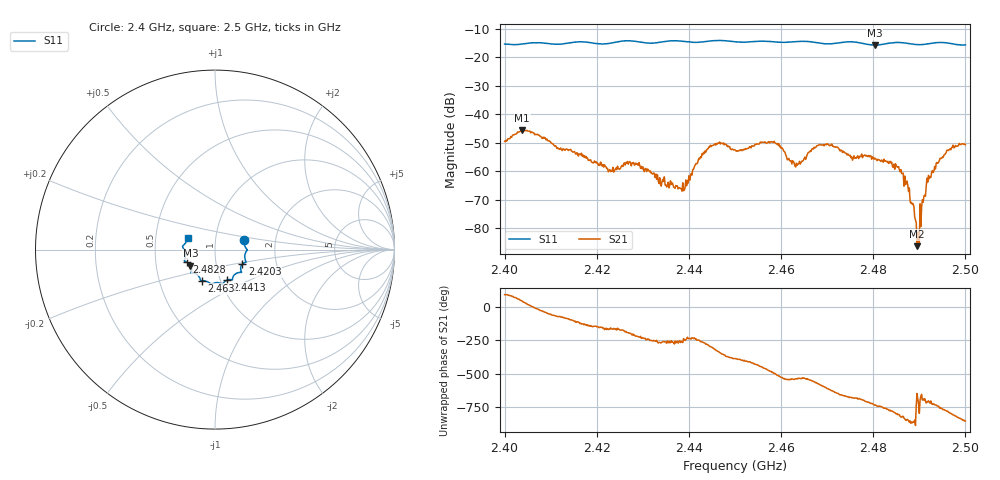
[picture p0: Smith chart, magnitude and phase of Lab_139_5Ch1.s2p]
# Hz S RI R 50
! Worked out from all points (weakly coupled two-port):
!   601 points, 2.4 GHz to 2.5 GHz, reference 50 ohm
!   highest |S21| = -45.62 dB at 2.4038 GHz (marker M1); lowest = -86.3 dB at 2.4895 GHz (marker M2)
!   lowest |S11| = -15.7 dB at 2.4803 GHz (marker M3), VSWR 1.39, Z = 37.4 - j6.84 ohm
!   |S11| at or under -10 dB: start of sweep to end of sweep
!   S12 and S22 are empty: the file has one direction only
!   S11 on the Smith chart (normalised r, x): 2.4 GHz: 1.38, +0.15; 2.4203 GHz: 1.34, -0.22; 2.4413 GHz: 1.08, -0.38; 2.463 GHz: 0.82, -0.29; 2.4828 GHz: 0.72, -0.10; 2.5 GHz: 0.73, +0.10
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2.4e9  0.1629 0.0527  7.4e-05 0.00336  0 0  0 0
2.403833e9  0.1706 0.0109  0.00396 0.00343  0 0  0 0
2.416667e9  0.1735 -0.0696  -0.00133 -0.00158  0 0  0 0
2.420333e9  0.1531 -0.0801  -0.00112 -0.000608  0 0  0 0
2.428833e9  0.1392 -0.1268  -0.00102 0.000888  0 0  0 0
2.433333e9  0.1004 -0.1514  1.63e-05 0.000678  0 0  0 0
2.438667e9  0.0911 -0.1676  -1.7e-05 0.000625  0 0  0 0
2.441333e9  0.0677 -0.1695  -0.000624 0.0011  0 0  0 0
2.445167e9  0.0432 -0.1905  0.00168 0.00228  0 0  0 0
2.45e9  0.0246 -0.1855  0.0021 -0.0011  0 0  0 0
2.458333e9  -0.0329 -0.1845  -0.00217 -0.00231  0 0  0 0
2.463e9  -0.0721 -0.1736  -0.00124 -1.56e-05  0 0  0 0
2.466667e9  -0.0815 -0.1673  -0.0024 0.000473  0 0  0 0
2.4705e9  -0.103 -0.1373  -0.000547 0.00275  0 0  0 0
2.480333e9  -0.1372 -0.089  0.00164 -0.000437  0 0  0 0
2.482833e9  -0.1585 -0.0701  0.00115 -0.000934  0 0  0 0
2.483333e9  -0.1625 -0.0683  0.000909 -0.00103  0 0  0 0
2.487333e9  -0.1676 -0.0537  -0.000341 -0.000584  0 0  0 0
2.4895e9  -0.1645 -0.0292  1.41e-05 4.63e-05  0 0  0 0
2.492e9  -0.1727 0.00133  0.000804 0.00027  0 0  0 0
2.494167e9  -0.181 0.0157  0.00134 -0.000507  0 0  0 0
2.5e9  -0.1519 0.0639  -0.00194 -0.00216  0 0  0 0
